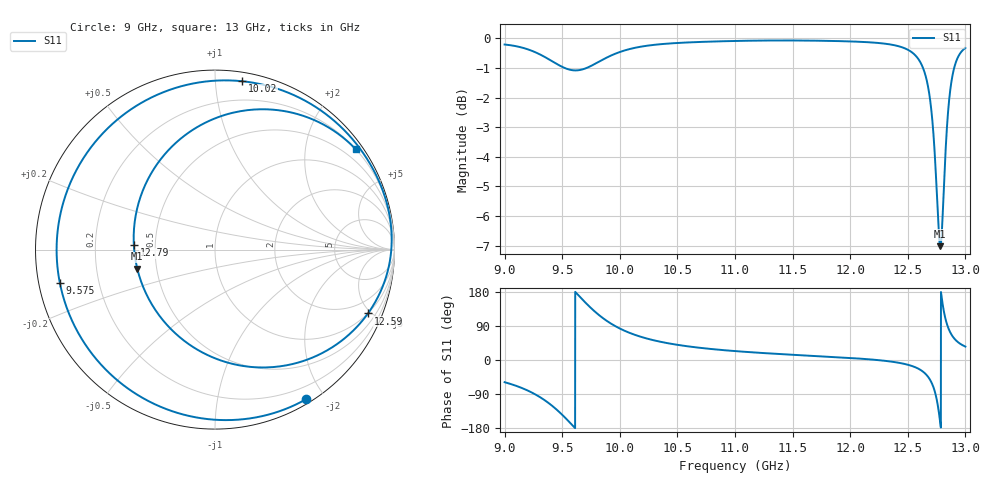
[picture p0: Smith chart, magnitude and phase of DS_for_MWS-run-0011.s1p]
! TOUCHSTONE file generated by CST DESIGN STUDIO
! Date and time: Tue Feb  4 17:33:51 2025
! Project name: C:\Work\MatlabApps\UnitCellOptimizationMatlab\CST\unitcell.cst
! Tree item: Tasks\Sweep1\SPara1\S-Parameters
! Header version: 2024
! Port assignment regex: !\s*Touchstone port\s*([0-9]+)\s*=\s*(CST MWS port|CST DES external port|CST DES block port)\s*(.+)\s* \(\"(.*)\"\)(\s*mode\s*([0-9]+))?.*
! Touchstone port assignment:
! Touchstone port 1 = CST DES external port 1 ("")
# GHz S MA R 50
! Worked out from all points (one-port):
!   4001 points, 9 GHz to 13 GHz, reference 50 ohm
!   lowest |S11| = -7.0 dB at 12.78 GHz (marker M1), VSWR 2.61, Z = 19.4 - j5.12 ohm
!   |S11| at or under -10 dB: nowhere
!   S11 on the Smith chart (normalised r, x): 9 GHz: 0.05, -1.78; 9.575 GHz: 0.06, -0.11; 10.02 GHz: 0.06, +1.17; 12.59 GHz: 0.99, -4.79; 12.79 GHz: 0.38, +0.02; 13 GHz: 0.20, +3.12
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9  0.9759 -58.6
9.156  0.9638 -74.7
9.307  0.9391 -98.0
9.407  0.916 -119.5
9.5  0.8948 -144.6
9.575  0.8842 -167.8
9.672  0.8856 160.7
9.789  0.9063 126.3
9.885  0.9273 103.7
10  0.948 83.1
10.016  0.9503 80.7
10.226  0.9708 57.4
10.5  0.9818 40.0
11  0.9895 23.5
11.5  0.9914 13.8
12  0.9878 5.3
12.308  0.9788 -2.4
12.5  0.9564 -12.5
12.59  0.9234 -22.7
12.667  0.8447 -40.9
12.723  0.6879 -72.1
12.753  0.5414 -107.1
12.782  0.4459 -166.3
12.789  0.4527 177.0
12.824  0.6231 112.5
12.856  0.7764 81.1
12.917  0.9106 52.2
13  0.9631 35.4
